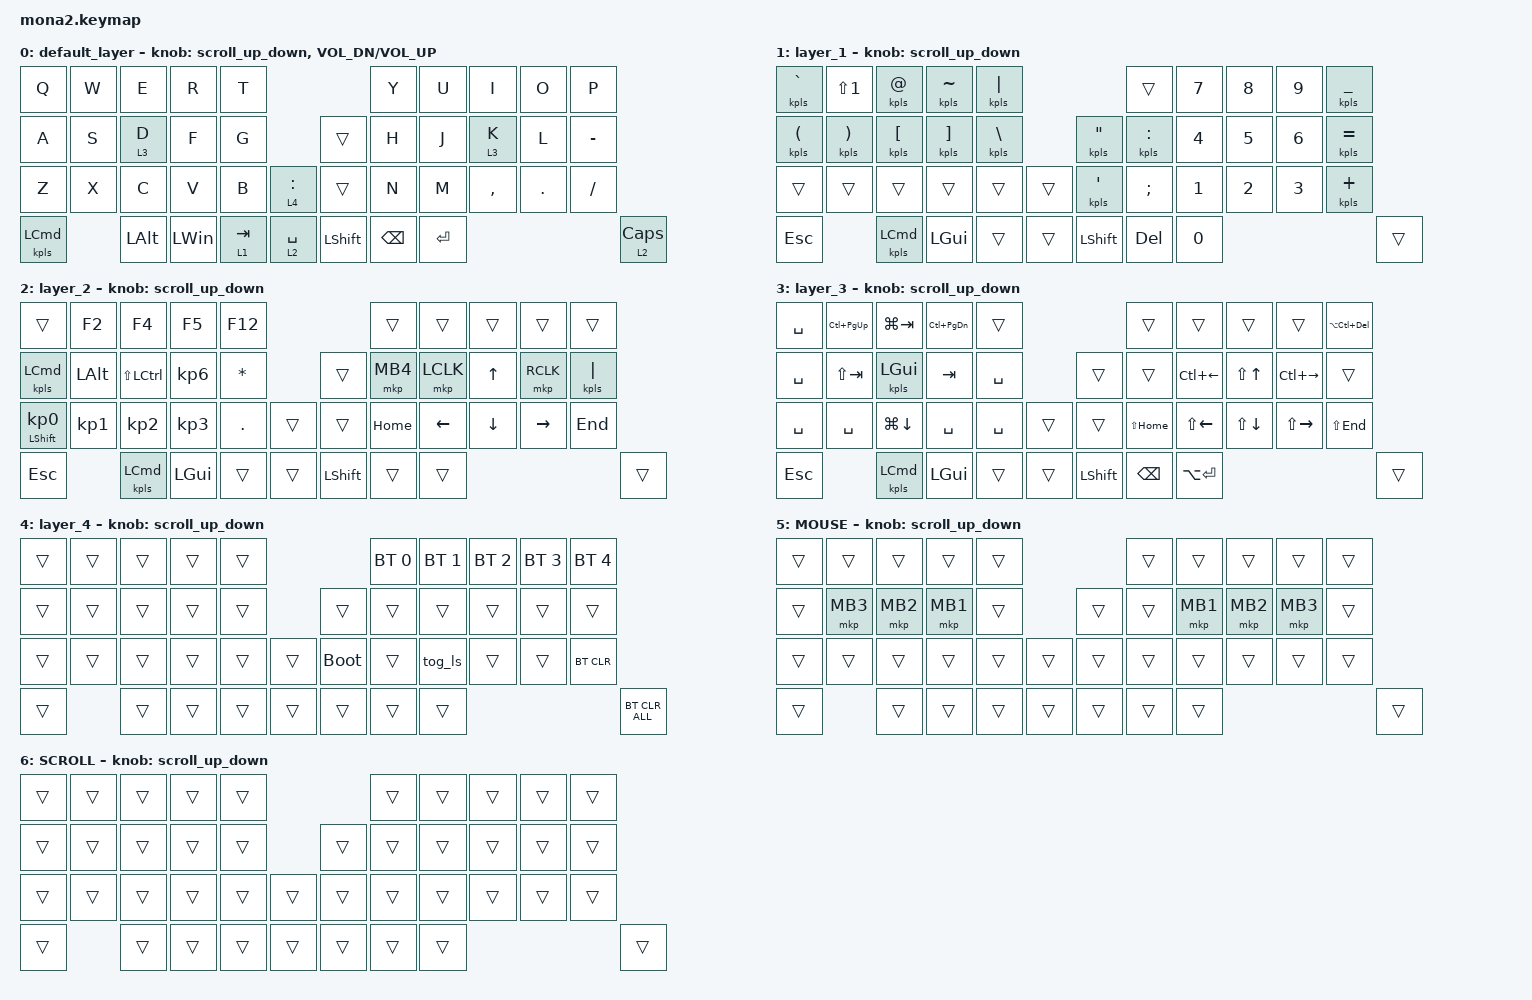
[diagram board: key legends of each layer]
#include <input/processors.dtsi>
#include <dt-bindings/zmk/input_transform.h>
#include <zephyr/dt-bindings/input/input-event-codes.h>
#include <behaviors.dtsi>
#include <dt-bindings/zmk/bt.h>
#include <dt-bindings/zmk/keys.h>
#include <dt-bindings/zmk/pointing.h>
#include <layout_shift.dtsi>

#define ZMK_POINTING_DEFAULT_SCRL_VAL 100
/*#define MOUSE 5*/
#define SCROLL 2

&mt {
    flavor = "balanced";
    quick-tap-ms = <0>;
};

&lt {
    quick-tap-ms = <300>;
    flavor = "balanced";
};

/ {
    combos {
        compatible = "zmk,combos";

        layer4_ESC {
            bindings = <&lt 4 ESC>;
            key-positions = <39 38>;
        };

        tab {
            bindings = <&kp TAB>;
            key-positions = <11 12>;
        };
    };

    macros {
        to_layer_0: to_layer_0 {
            compatible = "zmk,behavior-macro-one-param";
            #binding-cells = <1>;
            bindings = <&to 0 &macro_param_1to1 &kp MACRO_PLACEHOLDER>;
            label = "TO_LAYER_0";
        };
    };

    behaviors {
        lt_to_layer_0: lt_to_layer_0 {
            compatible = "zmk,behavior-hold-tap";
            label = "LAYER_TAP_TO_0";
            bindings = <&mo>, <&to_layer_0>;

            #binding-cells = <2>;
            tapping-term-ms = <200>;
        };

        scroll_up_down: mouse_wheel_up_down {
            compatible = "zmk,behavior-sensor-rotate";
            #sensor-binding-cells = <0>;
            bindings = <&msc SCRL_DOWN>, <&msc SCRL_UP>;

            tap-ms = <20>;
        };

        scroll_right_left: mouse_wheel_right_left {
            compatible = "zmk,behavior-sensor-rotate";
            #sensor-binding-cells = <0>;
            bindings = <&msc SCRL_LEFT>, <&msc SCRL_RIGHT>;

            tap-ms = <20>;
        };
    };

    keymap {
        compatible = "zmk,keymap";

        default_layer {
            bindings = <
&kp Q      &kp W         &kp E         &kp R      &kp T                                         &kp Y      &kp U  &kp I      &kp O    &kp P
&kp A      &kp S         &lt 3 D       &kp F      &kp G                          &trans         &kp H      &kp J  &lt 3 K    &kp L    &kp MINUS
&kp Z      &kp X         &kp C         &kp V      &kp B        &lt 4 COLON       &trans         &kp N      &kp M  &kp COMMA  &kp DOT  &kp SLASH
&kpls LEFT_COMMAND  &kp LEFT_ALT  &kp LEFT_WIN  &lt 1 TAB  &lt 2 SPACE  &kp LEFT_SHIFT    &kp BACKSPACE  &kp ENTER                             &lt 2 CAPSLOCK
            >;

            sensor-bindings =
                <&scroll_up_down>,
                <&inc_dec_kp C_VOL_DN C_VOL_UP>;
        };

        layer_1 {
            bindings = <
&kpls GRAVE &kp LS(NUMBER_1)  &kpls AT_SIGN    &kpls TILDE &kpls PIPE                                      &trans             &kp N7        &kp N8        &kp N9        &kpls UNDERSCORE
&kpls LEFT_PARENTHESIS  &kpls RIGHT_PARENTHESIS     &kpls LEFT_BRACKET &kpls RIGHT_BRACKET &kpls BACKSLASH  &kpls DOUBLE_QUOTES &kpls COLON        &kp NUMBER_4  &kp N5        &kp NUMBER_6  &kpls EQUAL
&trans      &trans            &trans            &trans         &trans         &trans            &kpls SINGLE_QUOTE  &kp SEMICOLON      &kp NUMBER_1  &kp NUMBER_2  &kp NUMBER_3  &kpls PLUS
&kp ESCAPE  &kpls LEFT_COMMAND  &kp LEFT_GUI      &trans         &trans         &kp LEFT_SHIFT    &kp DELETE   &kp N0                                                       &trans
            >;

            sensor-bindings = <&scroll_up_down>;
        };

        layer_2 {
            bindings = <
&trans                      &kp F2            &kp F4           &kp F5           &kp F12                                          &trans    &trans     &trans    &trans     &trans
&kpls LEFT_COMMAND          &kp LALT          &kp LS(LCTRL)    &kp KP_NUMBER_6  &kp ASTERISK                             &trans  &mkp MB4  &mkp LCLK  &kp UP    &mkp RCLK  &kpls PIPE
&mt LEFT_SHIFT KP_NUMBER_0  &kp KP_NUMBER_1   &kp KP_NUMBER_2  &kp KP_NUMBER_3  &kp PERIOD    &trans                     &trans  &kp HOME  &kp LEFT   &kp DOWN  &kp RIGHT  &kp END
&kp ESC                     &kpls LEFT_COMMAND  &kp LEFT_GUI     &trans           &trans        &kp LEFT_SHIFT             &trans  &trans                                    &trans
            >;

            sensor-bindings = <&scroll_up_down>;
        };

        layer_3 {
            bindings = <
&kp SPACE  &kp LC(PAGE_UP)  &kp LG(TAB)         &kp LC(PAGE_DOWN)  &trans                            &trans        &trans            &trans        &trans             &kp LA(LC(DELETE))
&kp SPACE  &kp LS(TAB)      &kpls LGUI          &kp TAB            &kp SPACE               &trans    &trans        &kp LC(LEFT)  &kp LS(UP)    &kp LC(RIGHT)      &trans
&kp SPACE  &kp SPACE        &kp LG(DOWN_ARROW)  &kp SPACE          &kp SPACE  &trans       &trans    &kp LS(HOME)  &kp LS(LEFT)      &kp LS(DOWN)  &kp LS(RIGHT)      &kp LS(END)
&kp ESC    &kpls LEFT_COMMAND &kp LGUI            &trans             &trans     &kp LSHFT    &kp BSPC  &kp LA(RET)                                                      &trans
            >;

            sensor-bindings = <&scroll_up_down>;
        };

        layer_4 {
            bindings = <
&trans  &trans  &trans  &trans  &trans                         &bt BT_SEL 0  &bt BT_SEL 1  &bt BT_SEL 2  &bt BT_SEL 3  &bt BT_SEL 4
&trans  &trans  &trans  &trans  &trans            &trans       &trans        &trans        &trans        &trans        &trans
&trans  &trans  &trans  &trans  &trans  &trans    &bootloader  &trans        &tog_ls       &trans        &trans        &bt BT_CLR
&trans  &trans  &trans  &trans  &trans  &trans    &trans       &trans                                                  &bt BT_CLR_ALL
            >;

            sensor-bindings = <&scroll_up_down>;
        };

        MOUSE {
            bindings = <
&trans  &trans    &trans    &trans    &trans                    &trans  &trans    &trans    &trans    &trans
&trans  &mkp MB3  &mkp MB2  &mkp MB1  &trans            &trans  &trans  &mkp MB1  &mkp MB2  &mkp MB3  &trans
&trans  &trans    &trans    &trans    &trans  &trans    &trans  &trans  &trans    &trans    &trans    &trans
&trans  &trans    &trans    &trans    &trans  &trans    &trans  &trans                                &trans
            >;

            sensor-bindings = <&scroll_up_down>;
        };

        SCROLL {
            bindings = <
&trans  &trans  &trans  &trans  &trans                    &trans  &trans  &trans  &trans  &trans
&trans  &trans  &trans  &trans  &trans            &trans  &trans  &trans  &trans  &trans  &trans
&trans  &trans  &trans  &trans  &trans  &trans    &trans  &trans  &trans  &trans  &trans  &trans
&trans  &trans  &trans  &trans  &trans  &trans    &trans  &trans                          &trans
            >;

            sensor-bindings = <&scroll_up_down>;
        };
    };
};
